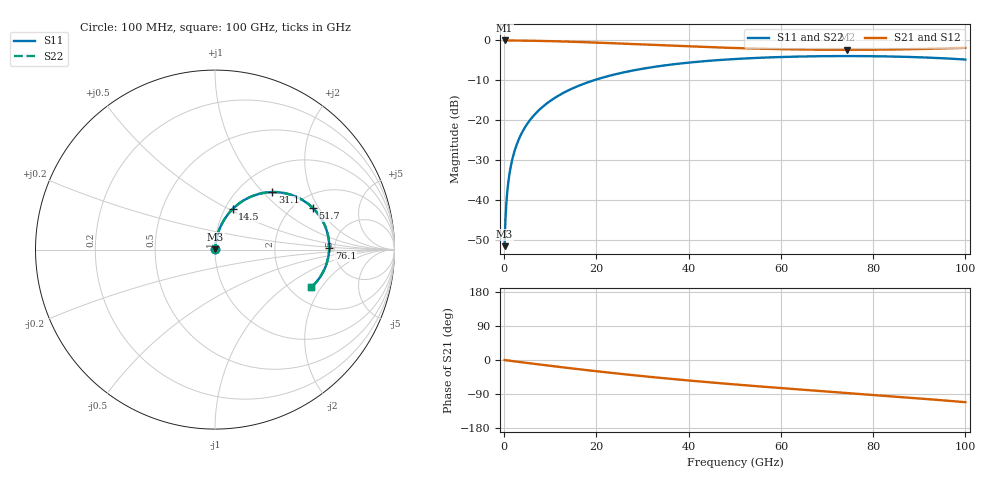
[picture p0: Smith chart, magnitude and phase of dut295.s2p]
! Touchstone file exported from HFSS 2026.1.0
!  File:  C:/ffzhzh/LocalFiles/Ansys_Project_Files/temp_train_RDL_295_1783502272_55944.aedt
!  Generated:  05:19:14 PM Jul  8, 2026
!  Design:  RDL
!  Project:  temp_train_RDL_295_1783502272_55944
! Variables:
!  h_bsmrdl = 2um
!  h_ox = 20um
!  h_rdl = 5um
!  h_sub = 80um
!  h_tmrdl = 4.02um
!  h_tsv = 80um
!  h_via = 3um
!  l_bsmrdl = 300um
!  l_sub = 771.53um
!  l_tmrdl = 371.53um
!  m_sub = 200um
!  pitch = 56.62um
!  r_tsv = 6um
!  s_tmrdl = 10um
!  w_bsmrdl = 18um
!  w_sub = 500um
!  w_tmrdl = 19.58um
!  x_tsv_center1 = 381.32um
!  x_tsv_center2 = 699.32um
!  x_tsv_center3 = 1090.43um
!  x_tsv_center4 = 1408.43um
!  x_tsv_center5 = 1799.54um
!  x_tsv_center6 = 2117.54um
# GHz S MA R 50.000000
! Terminal data exported
! Port[1] = TM_RDL1_1_T1
! Port[2] = TM_RDL1_1_T2
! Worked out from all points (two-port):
!   1000 points, 100 MHz to 100 GHz, reference 50 ohm
!   highest |S21| = -0.02 dB at 100 MHz (marker M1); lowest = -2.4 dB at 74.3 GHz (marker M2)
!   |S21| within 3 dB of the highest: start of sweep to end of sweep
!   lowest |S11| = -51.5 dB at 100 MHz (marker M3), VSWR 1.01, Z = 50.2 + j0.195 ohm
!   |S11| at or under -10 dB: start of sweep to 19.38 GHz
!   |S22| runs from -51.5 to -3.9 dB; largest |S21 - S12| = 1.4e-14
!   S11 on the Smith chart (normalised r, x): 100 MHz: 1.00, +0.00; 14.5 GHz: 1.09, +0.52; 31.1 GHz: 1.41, +1.13; 51.7 GHz: 2.49, +1.78; 76.1 GHz: 4.50, +0.13; 100 GHz: 2.58, -1.62
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0.1  0.002667 46.7  0.9982 -0.2  0.9982 -0.2  0.002667 46.7
! Gamma 0 0 0 0
! Port Impedance 50 0 50 0
0.8  0.01499 80.4  0.9977 -1.3  0.9977 -1.3  0.01499 80.4
1  0.0186 81.5  0.9976 -1.6  0.9976 -1.6  0.0186 81.5
1.3  0.02403 82.4  0.9974 -2.1  0.9974 -2.1  0.02403 82.4
1.7  0.03128 82.9  0.9971 -2.7  0.9971 -2.7  0.03128 82.9
2.2  0.04033 82.9  0.9966 -3.5  0.9966 -3.5  0.04033 82.9
3.5  0.06369 81.8  0.9949 -5.5  0.9949 -5.5  0.06369 81.8
5.3  0.09549 79.4  0.9917 -8.3  0.9917 -8.3  0.09549 79.5
7.7  0.1367 76.1  0.9859 -11.9  0.9859 -11.9  0.1367 76.1
10.8  0.188 71.7  0.9764 -16.6  0.9764 -16.6  0.188 71.7
14.5  0.2459 66.5  0.9627 -21.9  0.9627 -21.9  0.2459 66.6
16.8  0.28 63.3  0.953 -25.2  0.953 -25.2  0.28 63.4
23.3  0.367 54.7  0.9224 -34.1  0.9224 -34.1  0.367 54.8
31.1  0.4528 45.0  0.8833 -43.9  0.8833 -43.9  0.4528 45.1
33.4  0.4743 42.3  0.8719 -46.6  0.8719 -46.6  0.4743 42.5
50.1  0.5851 24.6  0.8025 -64.6  0.8025 -64.6  0.5851 24.8
51.7  0.592 23.0  0.7975 -66.2  0.7975 -66.2  0.5921 23.2
66.7  0.6321 9.2  0.7667 -80.2  0.7667 -80.2  0.6321 9.3
74.3  0.6369 2.4  0.7628 -87.1  0.7628 -87.1  0.6369 2.6
76.1  0.6366 0.8  0.763 -88.7  0.763 -88.7  0.6366 1.0
83.4  0.6295 -5.7  0.7685 -95.3  0.7685 -95.3  0.6296 -5.6
100  0.5761 -21.4  0.8075 -111.3  0.8075 -111.3  0.5762 -21.3
